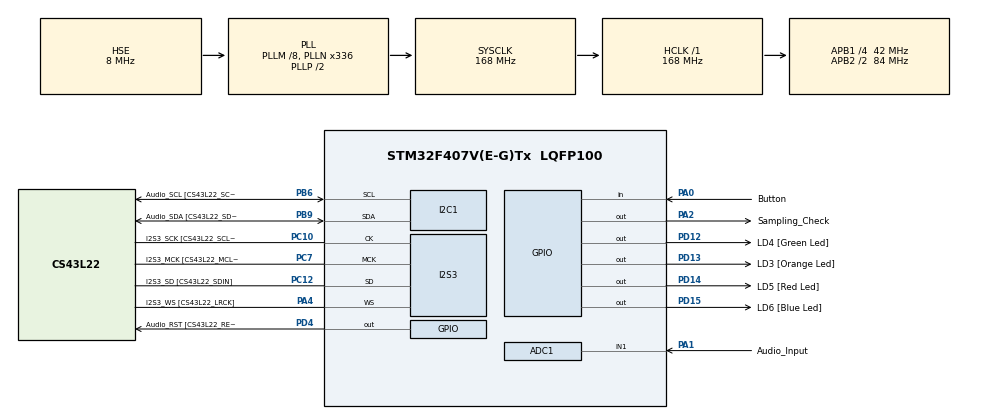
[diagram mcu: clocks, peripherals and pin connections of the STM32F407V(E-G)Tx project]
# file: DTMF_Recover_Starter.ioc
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ADC1.Channel-0\#ChannelRegularConversion=ADC_CHANNEL_1
ADC1.ClockPrescaler=ADC_CLOCK_SYNC_PCLK_DIV4
ADC1.ContinuousConvMode=DISABLE
ADC1.DMAContinuousRequests=DISABLE
ADC1.DataAlign=ADC_DATAALIGN_RIGHT
ADC1.DiscontinuousConvMode=DISABLE
ADC1.EOCSelection=ADC_EOC_SINGLE_CONV
ADC1.EnableAnalogWatchDog=false
ADC1.ExternalTrigConv=ADC_EXTERNALTRIGCONV_T2_TRGO
ADC1.ExternalTrigConvEdge=ADC_EXTERNALTRIGCONVEDGE_RISING
ADC1.InjNumberOfConversion=0
ADC1.NbrOfConversion=1
ADC1.NbrOfConversionFlag=1
ADC1.Rank-0\#ChannelRegularConversion=1
ADC1.Resolution=ADC_RESOLUTION_12B
ADC1.SamplingTime-0\#ChannelRegularConversion=ADC_SAMPLETIME_3CYCLES
ADC1.ScanConvMode=DISABLE
ADC1.master=1
I2S3.AudioFreq=I2S_AUDIOFREQ_48K
I2S3.ErrorAudioFreq=-0.01 %
I2S3.FullDuplexMode=I2S_FULLDUPLEXMODE_DISABLE
I2S3.Instance=SPI$Index
I2S3.RealAudioFreq=47.991 KHz
I2S3.Standard=I2S_STANDARD_PHILIPS
I2S3.VirtualMode=I2S_MODE_MASTER
Mcu.Family=STM32F4
Mcu.Name=STM32F407V(E-G)Tx
Mcu.Package=LQFP100
NVIC.ADC_IRQn=true\:0\:0\:false\:false\:true\:true\:true
NVIC.PriorityGroup=NVIC_PRIORITYGROUP_4
NVIC.SPI3_IRQn=true\:0\:0\:false\:false\:true\:true\:true
PA0-WKUP.GPIO_Label=Button
PA0-WKUP.Signal=GPIO_Input
PA1.GPIO_Label=Audio_Input
PA1.Signal=ADCx_IN1
PA13.GPIO_Label=SWDIO
PA13.Mode=Serial_Wire
PA13.Signal=SYS_JTMS-SWDIO
PA14.GPIO_Label=SWCLK
PA14.Mode=Serial_Wire
PA14.Signal=SYS_JTCK-SWCLK
PA2.GPIO_Label=Sampling_Check
PA2.Signal=GPIO_Output
PA4.GPIO_Label=I2S3_WS [CS43L22_LRCK]
PA4.GPIO_Mode=GPIO_MODE_AF_PP
PA4.GPIO_PuPd=GPIO_NOPULL
PA4.GPIO_Speed=GPIO_SPEED_FREQ_MEDIUM
PA4.Mode=Half_Duplex_Master
PA4.Signal=I2S3_WS
PB3.GPIO_Label=SWO
PB3.Signal=SYS_JTDO-SWO
PB6.GPIO_Label=Audio_SCL [CS43L22_SCL]
PB6.GPIO_Mode=GPIO_MODE_AF_OD
PB6.GPIO_PuPd=GPIO_NOPULL
PB6.GPIO_Speed=GPIO_SPEED_FREQ_LOW
PB6.Mode=I2C
PB6.Signal=I2C1_SCL
PB9.GPIO_Label=Audio_SDA [CS43L22_SDA]
PB9.GPIO_Mode=GPIO_MODE_AF_OD
PB9.GPIO_PuPd=GPIO_NOPULL
PB9.GPIO_Speed=GPIO_SPEED_FREQ_LOW
PB9.Mode=I2C
PB9.Signal=I2C1_SDA
PC10.GPIO_Label=I2S3_SCK [CS43L22_SCLK]
PC10.GPIO_Mode=GPIO_MODE_AF_PP
PC10.GPIO_PuPd=GPIO_NOPULL
PC10.GPIO_Speed=GPIO_SPEED_FREQ_MEDIUM
PC10.Mode=Half_Duplex_Master
PC10.Signal=I2S3_CK
PC12.GPIO_Label=I2S3_SD [CS43L22_SDIN]
PC12.GPIO_Mode=GPIO_MODE_AF_PP
PC12.GPIO_PuPd=GPIO_NOPULL
PC12.GPIO_Speed=GPIO_SPEED_FREQ_MEDIUM
PC12.Mode=Half_Duplex_Master
PC12.Signal=I2S3_SD
PC7.GPIO_Label=I2S3_MCK [CS43L22_MCLK]
PC7.GPIO_Mode=GPIO_MODE_AF_PP
PC7.GPIO_PuPd=GPIO_NOPULL
PC7.GPIO_Speed=GPIO_SPEED_FREQ_MEDIUM
PC7.Mode=Master_Clock_Activated
PC7.Signal=I2S3_MCK
PD12.GPIO_Label=LD4 [Green Led]
PD12.GPIO_PuPd=GPIO_NOPULL
PD12.GPIO_Speed=GPIO_SPEED_FREQ_LOW
PD12.Signal=GPIO_Output
PD13.GPIO_Label=LD3 [Orange Led]
PD13.GPIO_PuPd=GPIO_NOPULL
PD13.GPIO_Speed=GPIO_SPEED_FREQ_LOW
PD13.Signal=GPIO_Output
PD14.GPIO_Label=LD5 [Red Led]
PD14.GPIO_PuPd=GPIO_NOPULL
PD14.GPIO_Speed=GPIO_SPEED_FREQ_LOW
PD14.Signal=GPIO_Output
PD15.GPIO_Label=LD6 [Blue Led]
PD15.GPIO_PuPd=GPIO_NOPULL
PD15.GPIO_Speed=GPIO_SPEED_FREQ_LOW
PD15.Signal=GPIO_Output
PD4.GPIO_Label=Audio_RST [CS43L22_RESET]
PD4.GPIO_PuPd=GPIO_NOPULL
PD4.GPIO_Speed=GPIO_SPEED_FREQ_LOW
PD4.Signal=GPIO_Output
PH0-OSC_IN.GPIO_Label=PH0-OSC_IN
PH0-OSC_IN.Mode=HSE-External-Oscillator
PH0-OSC_IN.Signal=RCC_OSC_IN
PH1-OSC_OUT.GPIO_Label=PH1-OSC_OUT
PH1-OSC_OUT.Mode=HSE-External-Oscillator
PH1-OSC_OUT.Signal=RCC_OSC_OUT
ProjectManager.HeapSize=0x200
ProjectManager.StackSize=0x400
ProjectManager.TargetToolchain=TrueSTUDIO
RCC.48MHZClocksFreq_Value=48000000
RCC.AHBFreq_Value=168000000
RCC.APB1CLKDivider=RCC_HCLK_DIV4
RCC.APB1Freq_Value=42000000
RCC.APB1TimFreq_Value=84000000
RCC.APB2CLKDivider=RCC_HCLK_DIV2
RCC.APB2Freq_Value=84000000
RCC.APB2TimFreq_Value=168000000
RCC.CortexFreq_Value=168000000
RCC.HCLKFreq_Value=168000000
RCC.HSE_VALUE=8000000
RCC.HSI_VALUE=16000000
RCC.LSE_VALUE=0.00000000000003276799999999999
RCC.PLLI2SN=258
RCC.PLLI2SR=3
RCC.PLLM=8
RCC.PLLN=336
RCC.PLLQ=7
RCC.PLLSourceVirtual=RCC_PLLSOURCE_HSE
RCC.SYSCLKFreq_VALUE=168000000
RCC.SYSCLKSource=RCC_SYSCLKSOURCE_PLLCLK
RCC.VCOOutputFreq_Value=336000000
SH.ADCx_IN1.0=ADC1_IN1,IN1
TIM2.Period=9
TIM2.Prescaler=175
TIM2.TIM_MasterOutputTrigger=TIM_TRGO_UPDATE
TIM2.TIM_MasterSlaveMode=TIM_MASTERSLAVEMODE_DISABLE
VP_TIM2_VS_ClockSourceINT.Mode=Internal
board=STM32F4DISCOVERY

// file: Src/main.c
/* USER CODE BEGIN Header */
/**
  ******************************************************************************
  * @file           : main.c
  * @brief          : Main program body
  ******************************************************************************
  * @attention
  *
  * <h2><center>&copy; Copyright (c) 2019 STMicroelectronics.
  * All rights reserved.</center></h2>
  *
  * This software component is licensed by ST under BSD 3-Clause license,
  * the "License"; You may not use this file except in compliance with the
  * License. You may obtain a copy of the License at:
  *                        opensource.org/licenses/BSD-3-Clause
  *
  ******************************************************************************
  */
/* USER CODE END Header */

#include "main.h"

/* USER CODE BEGIN Includes */
#include <math.h>
#include "CS43L22.h"
#include <string.h>
#include <stdio.h>
#include "keyID.h"
//#include "sin256.h""

/* USER CODE END Includes */

/* USER CODE BEGIN PD */

#define AUDIO_BUFFER_SIZE 180
//con 2*90 el plop se escucha cada tanto 90 samples por cada canal intercaladas

//opciones de compilacion

#define USE_ADC  0

#define ADC_OFFSET 0//2048  //Si uso LOOKUP TABLE offset = 0

// defino si quiero usar efectos en el camino de la senial

#define DSP

// defino la cantidad maxima de muestras que voy a reservar para el buffer del delay

//aca se define de donde levanto el audio para transferir al DAC externo

#define RUN_OPT USE_ADC
//#define RUN_OPT USE_LOOKUP_TABLE_COMPLEMENT_2
/* USER CODE END PD */

ADC_HandleTypeDef hadc1;

I2C_HandleTypeDef hi2c1;

I2S_HandleTypeDef hi2s3;

TIM_HandleTypeDef htim2;

/* USER CODE BEGIN PV */
uint16_t audioBufferA[AUDIO_BUFFER_SIZE];
uint16_t audioBufferB[AUDIO_BUFFER_SIZE];

/* %%%%%%%%%%%%%%%%% Declaro punteros para lectura y transmision de audio %%%%%%%%%%%%%%%%%%%*/

uint16_t *audioToSend = NULL;
uint16_t *audioToUpdate = NULL;

/* %%%%%%%%%%%%%%%%% Declaro variables globales %%%%%%%%%%%%%%%%%%%*/

flag_t flag = idle;

uint8_t adc_done = 0;

buffer_t  buffer_to_send = buffer_B;
buffer_t buffer_to_fill = buffer_A;

uint16_t sample;
volatile bool_t transferComplete = TRUE;
COMPLEX w[PTS];
COMPLEX samples[PTS];
int sample_index;
// create spectrum data array
float spectrum[PTS];

// create average value for later
float average = 0.0;

// dtmf frequency array
int row_freq[4] = {697, 770, 852, 941};
int column_freq[4] = {1209, 1336, 1477, 1633};
float bin_size = ((float)FS)/((float)PTS);

// row index array
int dtmf_row[4];
int dtmf_column[4];
// key array TODO
	// row and column index variables
int row_index = 5;
int column_index = 5;
	// key character array
char keys[4][4] =
{
	{'1','2','3','A'},
	{'4','5','6','B'},
	{'7','8','9','C'},
	{'*','0','#','D'}
};
/* USER CODE END PV */

void SystemClock_Config(void);
static void MX_GPIO_Init(void);
static void MX_I2C1_Init(void);
static void MX_I2S3_Init(void);
static void MX_ADC1_Init(void);
static void MX_TIM2_Init(void);
/* USER CODE BEGIN PFP */
uint16_t audio_read(void);
uint16_t* select_buffer_to_transmit(buffer_t);

void audio_buffer_init(void);   	//inicializo el audio buffer con ceros.
void fill_buffers();
void load_buffer(uint16_t *);
void find_peaks(int *);
int __io_putchar(int ch);
/* USER CODE END PFP */

/* USER CODE BEGIN 0 */

int n=0;
int num=0;

/* USER CODE END 0 */

int main(void)
{

  /* MCU Configuration--------------------------------------------------------*/

  /* Reset of all peripherals, Initializes the Flash interface and the Systick. */
  HAL_Init();

  /* Configure the system clock */
  SystemClock_Config();

  /* Initialize all configured peripherals */
  MX_GPIO_Init();
  MX_I2C1_Init();
  MX_I2S3_Init();
  MX_ADC1_Init();
  MX_TIM2_Init();
  /* USER CODE BEGIN 2 */

	audioToSend = audioBufferB;     //asigno punteros a c/u de los buffers
	audioToUpdate = audioBufferA;

	CS43L22_init();   				//configuro el DAC CS43L22

	audio_buffer_init();         	//inicializo los buffers con ceros

	HAL_TIM_Base_Start(&htim2); 	//activo el timer
	HAL_ADC_Start_IT(&hadc1); 		// y el ADC

	// calculate twiddle factors
	for (int i = 0; i < PTS; i++)
	{
		w[i].real = cos(2.0 * M_PI * (float)i / PTS);
		w[i].imag = sin(2.0 * M_PI * (float)i / PTS);
		samples[i].real = 0;
		samples[i].imag = 0;
	}

	// calculate key row indicies
	for (int row = 0; row < 4; row++)
	{
		dtmf_row[row] = (int)(((float)row_freq[row])/bin_size + 0.5); // round to nearest integer
	}

	// calculate key column indices
	for (int column = 0; column < 4; column++)
	{
		dtmf_column[column] = (int)(((float)column_freq[column])/bin_size + 0.5); // round to nearest integer
	}

	sample_index = 0;

  /* USER CODE END 2 */

  /* Infinite loop */
  while (1)
  {

    /* USER CODE BEGIN 3 */
	  audioToSend = select_buffer_to_transmit(buffer_to_send); //me devuelve el puntero al buffer listo para enviar

		if(transferComplete && (flag == data_ready_to_send)){

			flag = idle;

			CS43L22_AudioSend(audioToSend,AUDIO_BUFFER_SIZE); //Envio el buffer por I2S al codec

			transferComplete = FALSE;

		}

		if(adc_done){

			adc_done = 0;

			fill_buffers();

		}

  }
  /* USER CODE END 3 */
}

void SystemClock_Config(void)
{
  RCC_OscInitTypeDef RCC_OscInitStruct = {0};
  RCC_ClkInitTypeDef RCC_ClkInitStruct = {0};
  RCC_PeriphCLKInitTypeDef PeriphClkInitStruct = {0};

  /** Configure the main internal regulator output voltage
  */
  __HAL_RCC_PWR_CLK_ENABLE();
  __HAL_PWR_VOLTAGESCALING_CONFIG(PWR_REGULATOR_VOLTAGE_SCALE1);
  /** Initializes the CPU, AHB and APB busses clocks
  */
  RCC_OscInitStruct.OscillatorType = RCC_OSCILLATORTYPE_HSE;
  RCC_OscInitStruct.HSEState = RCC_HSE_ON;
  RCC_OscInitStruct.PLL.PLLState = RCC_PLL_ON;
  RCC_OscInitStruct.PLL.PLLSource = RCC_PLLSOURCE_HSE;
  RCC_OscInitStruct.PLL.PLLM = 8;
  RCC_OscInitStruct.PLL.PLLN = 336;
  RCC_OscInitStruct.PLL.PLLP = RCC_PLLP_DIV2;
  RCC_OscInitStruct.PLL.PLLQ = 7;
  if (HAL_RCC_OscConfig(&RCC_OscInitStruct) != HAL_OK)
  {
    Error_Handler();
  }
  /** Initializes the CPU, AHB and APB busses clocks
  */
  RCC_ClkInitStruct.ClockType = RCC_CLOCKTYPE_HCLK|RCC_CLOCKTYPE_SYSCLK
                              |RCC_CLOCKTYPE_PCLK1|RCC_CLOCKTYPE_PCLK2;
  RCC_ClkInitStruct.SYSCLKSource = RCC_SYSCLKSOURCE_PLLCLK;
  RCC_ClkInitStruct.AHBCLKDivider = RCC_SYSCLK_DIV1;
  RCC_ClkInitStruct.APB1CLKDivider = RCC_HCLK_DIV4;
  RCC_ClkInitStruct.APB2CLKDivider = RCC_HCLK_DIV2;

  if (HAL_RCC_ClockConfig(&RCC_ClkInitStruct, FLASH_LATENCY_5) != HAL_OK)
  {
    Error_Handler();
  }
  PeriphClkInitStruct.PeriphClockSelection = RCC_PERIPHCLK_I2S;
  PeriphClkInitStruct.PLLI2S.PLLI2SN = 258;
  PeriphClkInitStruct.PLLI2S.PLLI2SR = 3;
  if (HAL_RCCEx_PeriphCLKConfig(&PeriphClkInitStruct) != HAL_OK)
  {
    Error_Handler();
  }
}

static void MX_ADC1_Init(void)
{

  ADC_ChannelConfTypeDef sConfig = {0};

  /** Configure the global features of the ADC (Clock, Resolution, Data Alignment and number of conversion)
  */
  hadc1.Instance = ADC1;
  hadc1.Init.ClockPrescaler = ADC_CLOCK_SYNC_PCLK_DIV4;
  hadc1.Init.Resolution = ADC_RESOLUTION_12B;
  hadc1.Init.ScanConvMode = DISABLE;
  hadc1.Init.ContinuousConvMode = DISABLE;
  hadc1.Init.DiscontinuousConvMode = DISABLE;
  hadc1.Init.ExternalTrigConvEdge = ADC_EXTERNALTRIGCONVEDGE_RISING;
  hadc1.Init.ExternalTrigConv = ADC_EXTERNALTRIGCONV_T2_TRGO;
  hadc1.Init.DataAlign = ADC_DATAALIGN_RIGHT;
  hadc1.Init.NbrOfConversion = 1;
  hadc1.Init.DMAContinuousRequests = DISABLE;
  hadc1.Init.EOCSelection = ADC_EOC_SINGLE_CONV;
  if (HAL_ADC_Init(&hadc1) != HAL_OK)
  {
    Error_Handler();
  }
  /** Configure for the selected ADC regular channel its corresponding rank in the sequencer and its sample time.
  */
  sConfig.Channel = ADC_CHANNEL_1;
  sConfig.Rank = 1;
  sConfig.SamplingTime = ADC_SAMPLETIME_3CYCLES;
  if (HAL_ADC_ConfigChannel(&hadc1, &sConfig) != HAL_OK)
  {
    Error_Handler();
  }

}

static void MX_I2C1_Init(void)
{

  hi2c1.Instance = I2C1;
  hi2c1.Init.ClockSpeed = 100000;
  hi2c1.Init.DutyCycle = I2C_DUTYCYCLE_2;
  hi2c1.Init.OwnAddress1 = 0;
  hi2c1.Init.AddressingMode = I2C_ADDRESSINGMODE_7BIT;
  hi2c1.Init.DualAddressMode = I2C_DUALADDRESS_DISABLE;
  hi2c1.Init.OwnAddress2 = 0;
  hi2c1.Init.GeneralCallMode = I2C_GENERALCALL_DISABLE;
  hi2c1.Init.NoStretchMode = I2C_NOSTRETCH_DISABLE;
  if (HAL_I2C_Init(&hi2c1) != HAL_OK)
  {
    Error_Handler();
  }

}

static void MX_I2S3_Init(void)
{

  hi2s3.Instance = SPI3;
  hi2s3.Init.Mode = I2S_MODE_MASTER_TX;
  hi2s3.Init.Standard = I2S_STANDARD_PHILIPS;
  hi2s3.Init.DataFormat = I2S_DATAFORMAT_16B;
  hi2s3.Init.MCLKOutput = I2S_MCLKOUTPUT_ENABLE;
  hi2s3.Init.AudioFreq = I2S_AUDIOFREQ_48K;
  hi2s3.Init.CPOL = I2S_CPOL_LOW;
  hi2s3.Init.ClockSource = I2S_CLOCK_PLL;
  hi2s3.Init.FullDuplexMode = I2S_FULLDUPLEXMODE_DISABLE;
  if (HAL_I2S_Init(&hi2s3) != HAL_OK)
  {
    Error_Handler();
  }

}

static void MX_TIM2_Init(void)
{

  TIM_ClockConfigTypeDef sClockSourceConfig = {0};
  TIM_MasterConfigTypeDef sMasterConfig = {0};

  htim2.Instance = TIM2;
  htim2.Init.Prescaler = 175;
  htim2.Init.CounterMode = TIM_COUNTERMODE_UP;
  htim2.Init.Period = 9;
  htim2.Init.ClockDivision = TIM_CLOCKDIVISION_DIV1;
  htim2.Init.AutoReloadPreload = TIM_AUTORELOAD_PRELOAD_DISABLE;
  if (HAL_TIM_Base_Init(&htim2) != HAL_OK)
  {
    Error_Handler();
  }
  sClockSourceConfig.ClockSource = TIM_CLOCKSOURCE_INTERNAL;
  if (HAL_TIM_ConfigClockSource(&htim2, &sClockSourceConfig) != HAL_OK)
  {
    Error_Handler();
  }
  sMasterConfig.MasterOutputTrigger = TIM_TRGO_UPDATE;
  sMasterConfig.MasterSlaveMode = TIM_MASTERSLAVEMODE_DISABLE;
  if (HAL_TIMEx_MasterConfigSynchronization(&htim2, &sMasterConfig) != HAL_OK)
  {
    Error_Handler();
  }

}

static void MX_GPIO_Init(void)
{
  GPIO_InitTypeDef GPIO_InitStruct = {0};

  /* GPIO Ports Clock Enable */
  __HAL_RCC_GPIOH_CLK_ENABLE();
  __HAL_RCC_GPIOA_CLK_ENABLE();
  __HAL_RCC_GPIOD_CLK_ENABLE();
  __HAL_RCC_GPIOC_CLK_ENABLE();
  __HAL_RCC_GPIOB_CLK_ENABLE();

  /*Configure GPIO pin Output Level */
  HAL_GPIO_WritePin(Sampling_Check_GPIO_Port, Sampling_Check_Pin, GPIO_PIN_RESET);

  /*Configure GPIO pin Output Level */
  HAL_GPIO_WritePin(GPIOD, LD4_Pin|LD3_Pin|LD5_Pin|LD6_Pin
                          |Audio_RST_Pin, GPIO_PIN_RESET);

  /*Configure GPIO pin : Button_Pin */
  GPIO_InitStruct.Pin = Button_Pin;
  GPIO_InitStruct.Mode = GPIO_MODE_INPUT;
  GPIO_InitStruct.Pull = GPIO_NOPULL;
  HAL_GPIO_Init(Button_GPIO_Port, &GPIO_InitStruct);

  /*Configure GPIO pin : Sampling_Check_Pin */
  GPIO_InitStruct.Pin = Sampling_Check_Pin;
  GPIO_InitStruct.Mode = GPIO_MODE_OUTPUT_PP;
  GPIO_InitStruct.Pull = GPIO_NOPULL;
  GPIO_InitStruct.Speed = GPIO_SPEED_FREQ_LOW;
  HAL_GPIO_Init(Sampling_Check_GPIO_Port, &GPIO_InitStruct);

  /*Configure GPIO pins : LD4_Pin LD3_Pin LD5_Pin LD6_Pin
                           Audio_RST_Pin */
  GPIO_InitStruct.Pin = LD4_Pin|LD3_Pin|LD5_Pin|LD6_Pin
                          |Audio_RST_Pin;
  GPIO_InitStruct.Mode = GPIO_MODE_OUTPUT_PP;
  GPIO_InitStruct.Pull = GPIO_NOPULL;
  GPIO_InitStruct.Speed = GPIO_SPEED_FREQ_LOW;
  HAL_GPIO_Init(GPIOD, &GPIO_InitStruct);

}

/* USER CODE BEGIN 4 */
void HAL_I2S_TxCpltCallback(I2S_HandleTypeDef *hi2s)
{
	/* Prevent unused argument(s) compilation warning */
	UNUSED(hi2s);

	//HAL_GPIO_TogglePin(Sampling_Check_GPIO_Port, Sampling_Check_Pin);

	transferComplete = TRUE;

}

void load_buffer(uint16_t *buff){

	static size_t i = 0;

	sample = audio_read();

#ifdef DSP

	samples[sample_index].real = (float)sample;
	samples[sample_index].imag = 0.0;

	sample_index++;

	if(sample_index == PTS)
	{
		char key;
		// calculate FFT
		FFT(samples, PTS);

		// convert to magnitude spectrum data and calculate the average sample value
		for (int index = 0; index < PTS; index++)
		{
			double mag = pow(samples[index].real, 2) + pow(samples[index].imag, 2);
			spectrum[index] = sqrt(mag);

		}

		// caluclate average
		int count = 0;
		for (int i = dtmf_row[0]; i < dtmf_column[3]; i++)
		{
			average += spectrum[i];
			count++;
		}
		average = average / (float)count;

		// calculate peak cutoff
		float cutoff = average*THRESHOLD;
		float row_peak = 0.0;
		float column_peak = 0.0;

		row_index = 5;
		column_index = 5;

		// check magnitude spectrum for peaks at key indexes

		for(int index = 0; index < 4; index++)
		{
			// check if a key has a peak larger than the cutoff AND larger than the current largest peak found
				// for the rows
			if((spectrum[dtmf_row[index]] > cutoff) & (spectrum[dtmf_row[index]] > row_peak))
			{
				row_peak = spectrum[dtmf_row[index]];
				row_index = index;
			}

				// for the columns
			if((spectrum[dtmf_column[index]] > cutoff) & (spectrum[dtmf_column[index]] > column_peak))
			{
				column_peak = spectrum[dtmf_column[index]];
				column_index = index;
			}
		}

		// if no key, return 'x', else index to the key array and return that key
		if ((row_index > 4) | (column_index > 4))
		{
			key = 'x';
		}
		else
		{
			key=keys[row_index][column_index];
		}

		// print out key
		if(key == 'x')
		{
			printf("No key present\n");
		}
		else
		{
			printf("key is: %c\n", key);
		}

		sample_index = 0;
	}

#endif

	buff[i] = sample;

	buff[i+1] =  buff[i];

	i = i+2;

	if( (i >= AUDIO_BUFFER_SIZE)){

		buffer_t aux = buffer_to_send;
		buffer_to_send = buffer_to_fill;
		buffer_to_fill = aux;

		flag = data_ready_to_send;
		i=0;

	}

}

void fill_buffers(){

	if((buffer_to_fill == buffer_A)){

		audioToUpdate = audioBufferA;
		load_buffer(audioToUpdate);

	}
	if((buffer_to_fill == buffer_B)){

		audioToUpdate = audioBufferB;
		load_buffer(audioToUpdate);
	}

}

void HAL_ADC_ConvCpltCallback(ADC_HandleTypeDef* hadc)

{
	/* Prevent unused argument(s) compilation warning */
	UNUSED(hadc);
	adc_done = 1;

}

uint16_t* select_buffer_to_transmit(buffer_t bf){

	uint16_t *ptr = NULL;

	if(buffer_to_send == buffer_A){

		ptr = audioBufferA;

	}else if(buffer_to_send == buffer_B){

		ptr = audioBufferB;

	}

	return ptr;

}

void audio_buffer_init(){

	size_t i;

	for(i = 0;i<AUDIO_BUFFER_SIZE;i++){

		audioBufferA[i] = 0;
		audioBufferB[i] = 0;

	}

}

uint16_t audio_read(void){

#if (RUN_OPT == USE_ADC)

	return HAL_ADC_GetValue(&hadc1);

#endif

/*#if (RUN_OPT == USE_LOOKUP_TABLE_COMPLEMENT_2)

	static size_t index = 0;

	if(index >= SINE_SAMPLES){

		index = 0;
	}

	return SINE_COMP[index++];

#endif */

}

void CS43L22_EXTERNAL_DAC_I2S_transmit(uint16_t *buffer,uint16_t buffer_size){

	HAL_I2S_Transmit_IT(&hi2s3,buffer,buffer_size);

}

void CS43L22_EXTERNAL_DAC_I2C_write(uint8_t *iData, uint8_t len)
{ //maneja el periferico i2c para comunicaicon con el dac

	HAL_I2C_Master_Transmit(&hi2c1, CS43L22_ADDRESS, iData, len, 100);

}

void CS43L22_EXTERNAL_DAC_I2C_recieve(uint8_t *iData){

	HAL_I2C_Master_Receive(&hi2c1, CS43L22_ADDRESS, iData, 1, 100);

}

void CS43L22_EXTERNAL_DAC_enable()
{
	//esta funcion se encarga de poner en alto o bajo el pin de reset del dac
	//recibe un 1 para poner el pin en alto y un 0 para ponerlo en bajo

	HAL_GPIO_WritePin(GPIOD, GPIO_PIN_4, GPIO_PIN_SET);

}

int __io_putchar(int ch)
{
	ITM_SendChar(ch);
	return 0;
}

/* USER CODE END 4 */

void Error_Handler(void)
{
}

/************************ (C) COPYRIGHT STMicroelectronics *****END OF FILE****/
